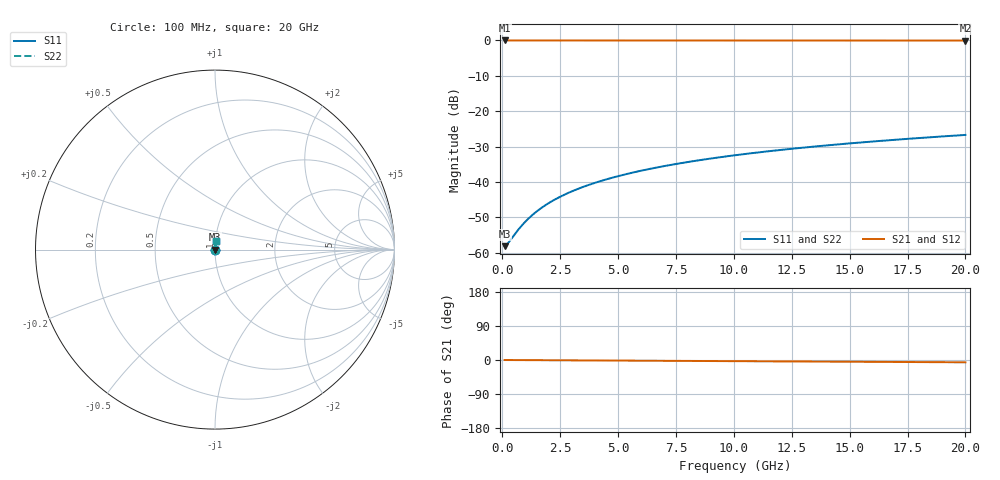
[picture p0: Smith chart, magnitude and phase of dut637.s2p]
! Touchstone file exported from HFSS 2026.1.0
!  File:  C:/ffzhzh/LocalFiles/Ansys_Project_Files/temp_train_TSV_637_1783026359_53980.aedt
!  Generated:  05:08:23 AM Jul  3, 2026
!  Design:  TSV
!  Project:  temp_train_TSV_637_1783026359_53980
! Variables:
!  h_bsmrdl = 2um
!  h_ox = 20um
!  h_rdl = 5um
!  h_sub = 56.38um
!  h_tmrdl = 5um
!  h_tsv = 56.38um
!  h_via = 3um
!  l_bsmrdl = 300um
!  l_sub = 404.68um
!  l_tmrdl = 200um
!  m_sub = 200um
!  pitch = 19.22um
!  r_tsv = 2.34um
!  s_tmrdl = 10um
!  w_bsmrdl = 18um
!  w_sub = 500um
!  w_tmrdl = 12um
!  x_tsv_center1 = 206um
!  x_tsv_center2 = 524um
!  x_tsv_center3 = 736um
!  x_tsv_center4 = 1054um
!  x_tsv_center5 = 1266um
!  x_tsv_center6 = 1584um
# GHz S MA R 50.000000
! Terminal data exported
! Port[1] = TSV1_1_T1
! Port[2] = TSV1_1_T2
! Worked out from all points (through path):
!   200 points, 100 MHz to 20 GHz, reference 50 ohm
!   highest |S21| = -0.01 dB at 100 MHz (marker M1); lowest = 0.0 dB at 20 GHz (marker M2)
!   lowest |S11| = -58.2 dB at 100 MHz (marker M3), VSWR 1.00, Z = 50.1 + j0.0252 ohm
!   |S11| at or under -10 dB: start of sweep to end of sweep
!   |S22| runs from -58.2 to -26.7 dB; largest |S21 - S12| = 5.7e-15
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0.1  0.001235 11.7  0.9988 -0.0  0.9988 -0.0  0.001235 11.7
! Gamma 0 0 0 0
! Port Impedance 50 0 50 0
0.2  0.001314 22.4  0.9988 -0.1  0.9988 -0.1  0.001314 22.4
0.3  0.001433 31.5  0.9988 -0.1  0.9988 -0.1  0.001433 31.5
0.7  0.002131 53.8  0.9987 -0.2  0.9987 -0.2  0.002131 53.8
1  0.002754 62.2  0.9987 -0.3  0.9987 -0.3  0.002754 62.2
1.3  0.003411 67.4  0.9987 -0.4  0.9987 -0.4  0.003411 67.4
1.6  0.004088 71.0  0.9987 -0.5  0.9987 -0.5  0.004088 71.0
2  0.005007 74.1  0.9987 -0.6  0.9987 -0.6  0.005007 74.1
2.4  0.005938 76.2  0.9986 -0.7  0.9986 -0.7  0.005938 76.2
2.9  0.00711 78.0  0.9986 -0.9  0.9986 -0.9  0.00711 78.0
3.5  0.008524 79.5  0.9986 -1.1  0.9986 -1.1  0.008524 79.5
4.2  0.01018 80.5  0.9985 -1.3  0.9985 -1.3  0.01018 80.5
5  0.01206 81.3  0.9984 -1.5  0.9984 -1.5  0.01206 81.3
5.9  0.01418 81.7  0.9983 -1.8  0.9983 -1.8  0.01418 81.7
6.8  0.01629 82.0  0.9982 -2.1  0.9982 -2.1  0.01629 82.0
8.3  0.01978 82.1  0.998 -2.6  0.998 -2.6  0.01978 82.1
10.1  0.02393 82.0  0.9977 -3.1  0.9977 -3.1  0.02393 82.0
11.7  0.02759 81.8  0.9974 -3.6  0.9974 -3.6  0.02759 81.8
13.4  0.03144 81.5  0.9971 -4.1  0.9971 -4.1  0.03144 81.5
15  0.03504 81.2  0.9968 -4.6  0.9968 -4.6  0.03504 81.2
16.7  0.03883 80.8  0.9965 -5.1  0.9965 -5.1  0.03883 80.8
20  0.04614 80.1  0.9959 -6.1  0.9959 -6.1  0.04614 80.1
